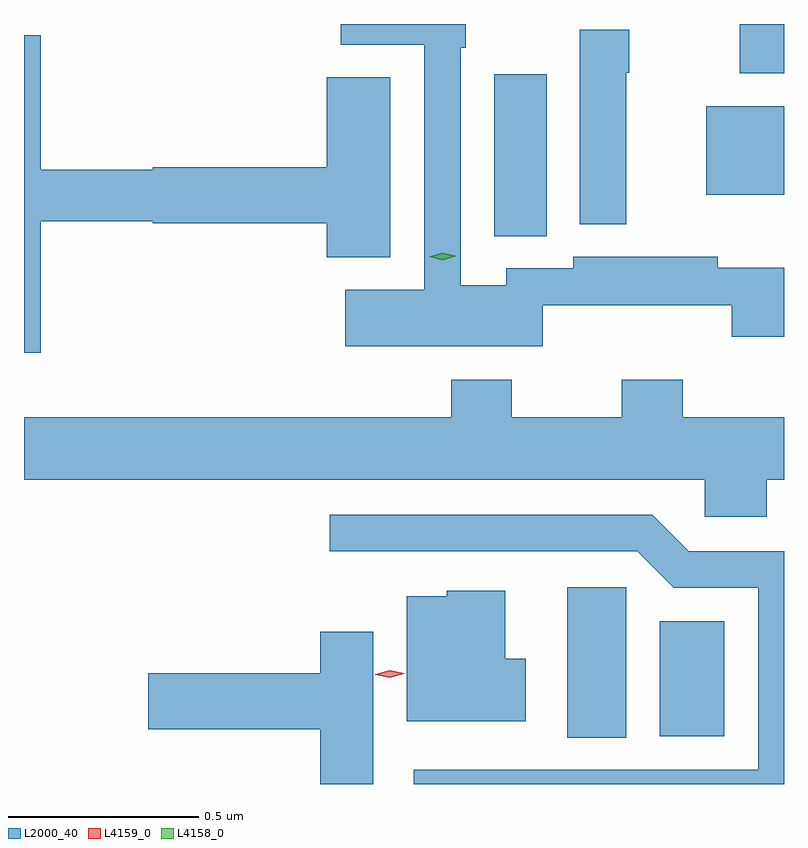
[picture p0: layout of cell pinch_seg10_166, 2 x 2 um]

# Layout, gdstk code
import gdstk
lib = gdstk.Library(unit=1e-6, precision=1e-09)
def R(c, l, rs):  # rectangles x0, y0, x1, y1
    for r in rs: c.add(gdstk.rectangle(r[:2], r[2:], *l))
def P(c, l, *ps):  # polygons
    for p in ps: c.add(gdstk.Polygon(p, *l))
L2000_40 = (2000, 40)
L4158_0 = (4158, 0)
L4159_0 = (4159, 0)

pinch_seg10_166 = lib.new_cell('pinch_seg10_166')
R(pinch_seg10_166, L2000_40, [(650.177,1284.985,650.332,1285.381), (650.42,1284.989,650.59,1285.291), (649.985,1286.305,650.122,1286.731), (650.543,1286.414,650.747,1286.647), (650.631,1286.733,650.747,1286.863)])
P(pinch_seg10_166, L2000_40, [(650.112,1286.123),(650.609,1286.123),(650.609,1286.04),(650.747,1286.04),(650.747,1286.222),(650.572,1286.222),(650.572,1286.251),(650.192,1286.251),(650.192,1286.22),(650.016,1286.22),(650.016,1286.176),(649.896,1286.176),(649.896,1286.801),(649.909,1286.801),(649.909,1286.863),(649.581,1286.863),(649.581,1286.808),(649.8,1286.808),(649.8,1286.164),(649.593,1286.164),(649.593,1286.015),(650.112,1286.015)],
  [(650.332,1286.735),(650.34,1286.735),(650.34,1286.848),(650.21,1286.848),(650.21,1286.336),(650.332,1286.336)],
  [(648.791,1286.344),(649.086,1286.344),(649.086,1286.339),(649.544,1286.339),(649.544,1286.249),(649.711,1286.249),(649.711,1286.723),(649.544,1286.723),(649.544,1286.486),(649.086,1286.486),(649.086,1286.48),(648.791,1286.48),(648.791,1286.833),(648.747,1286.833),(648.747,1285.998),(648.791,1285.998)],
  [(650.48,1285.927),(650.32,1285.927),(650.32,1285.828),(650.031,1285.828),(650.031,1285.927),(649.871,1285.927),(649.871,1285.828),(648.747,1285.828),(648.747,1285.664),(650.538,1285.664),(650.538,1285.566),(650.702,1285.566),(650.702,1285.664),(650.747,1285.664),(650.747,1285.828),(650.48,1285.828)],
  [(650.747,1285.476),(650.496,1285.476),(650.4,1285.572),(649.551,1285.572),(649.551,1285.476),(650.361,1285.476),(650.457,1285.38),(650.679,1285.38),(650.679,1284.9),(649.773,1284.9),(649.773,1284.863),(650.747,1284.863)],
  [(650.068,1285.192),(650.014,1285.192),(650.014,1285.372),(649.86,1285.372),(649.86,1285.357),(649.754,1285.357),(649.754,1285.028),(650.068,1285.028)],
  [(649.666,1285.264),(649.526,1285.264),(649.526,1285.154),(649.074,1285.154),(649.074,1285.007),(649.526,1285.007),(649.526,1284.863),(649.666,1284.863)])
P(pinch_seg10_166, L4158_0, [(649.849,1286.241),(649.814,1286.25),(649.814,1286.25),(649.814,1286.25),(649.848,1286.261),(649.883,1286.253),(649.884,1286.253),(649.883,1286.252)])
P(pinch_seg10_166, L4159_0, [(649.71,1285.142),(649.671,1285.151),(649.671,1285.152),(649.671,1285.152),(649.709,1285.162),(649.748,1285.154),(649.748,1285.154),(649.748,1285.153)])

lib.write_gds('pinch_seg10_166.gds')
